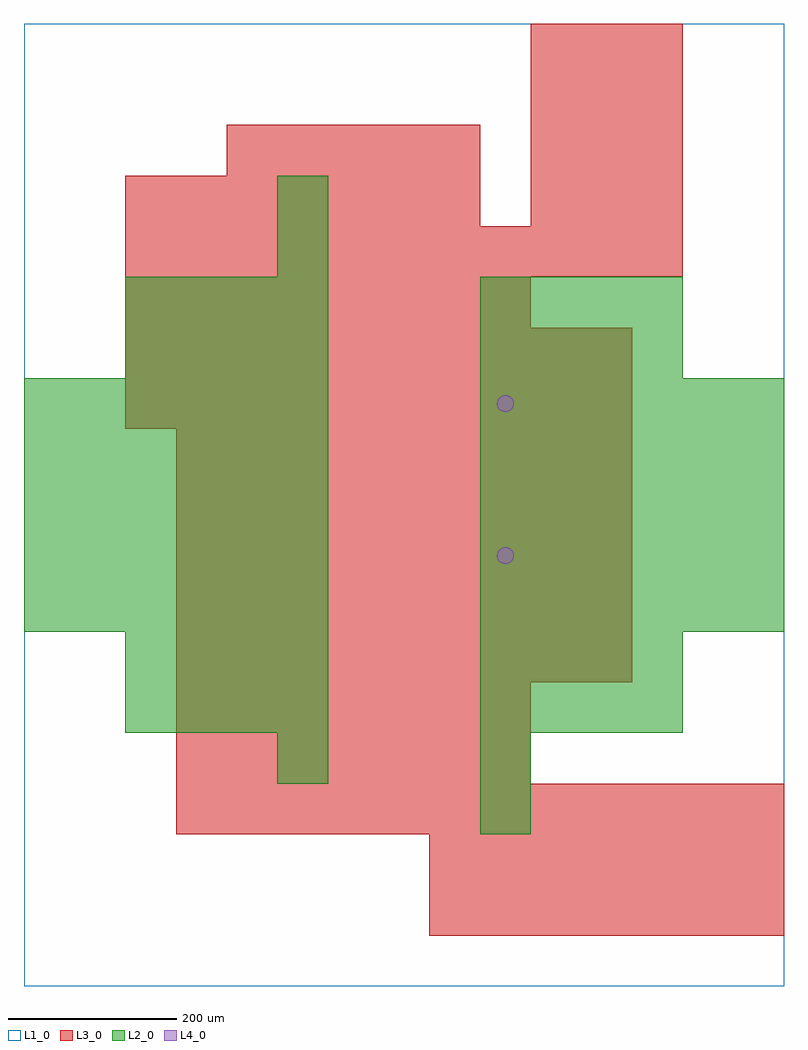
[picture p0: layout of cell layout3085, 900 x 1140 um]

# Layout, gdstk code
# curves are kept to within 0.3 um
import gdstk
lib = gdstk.Library(unit=1e-6, precision=1e-09)
def R(c, l, rs):  # rectangles x0, y0, x1, y1
    for r in rs: c.add(gdstk.rectangle(r[:2], r[2:], *l))
def A(c, l, x, y, w, h, nx, ny, dx, dy):  # array of equal rectangles
    R(c, l, [(x+i*dx, y+j*dy, x+i*dx+w, y+j*dy+h) for i in range(nx) for j in range(ny)])
def P(c, l, *ps):  # polygons
    for p in ps: c.add(gdstk.Polygon(p, *l))
L1_0 = (1, 0)
L2_0 = (2, 0)
L3_0 = (3, 0)
L4_0 = (4, 0)

layout3085 = lib.new_cell('layout3085')
R(layout3085, L1_0, [(0,0,900,1140)])
A(layout3085, L2_0, 120, 300, 60, 60, 4, 2, 60, 60)
A(layout3085, L2_0, 540, 300, 60, 60, 4, 2, 60, 60)
A(layout3085, L2_0, 0, 420, 60, 60, 6, 5, 60, 60)
A(layout3085, L2_0, 540, 420, 60, 60, 6, 5, 60, 60)
A(layout3085, L2_0, 120, 720, 60, 60, 4, 2, 60, 60)
A(layout3085, L2_0, 540, 720, 60, 60, 4, 2, 60, 60)
R(layout3085, L2_0, [(540,180,600,240), (300,240,360,300), (540,240,600,300), (300,840,360,900), (300,900,360,960)])
A(layout3085, L3_0, 480, 60, 60, 60, 7, 2, 60, 60)
A(layout3085, L3_0, 180, 180, 60, 60, 12, 1, 60, 0)
A(layout3085, L3_0, 180, 240, 60, 60, 7, 2, 60, 60)
A(layout3085, L3_0, 180, 360, 60, 60, 9, 5, 60, 60)
A(layout3085, L3_0, 120, 660, 60, 60, 10, 2, 60, 60)
A(layout3085, L3_0, 120, 780, 60, 60, 8, 1, 60, 0)
A(layout3085, L3_0, 120, 840, 60, 60, 11, 1, 60, 0)
A(layout3085, L3_0, 120, 900, 60, 60, 7, 1, 60, 0)
A(layout3085, L3_0, 600, 900, 60, 60, 3, 4, 60, 60)
A(layout3085, L3_0, 240, 960, 60, 60, 5, 1, 60, 0)
P(layout3085, L4_0, [(580,510),(579.239,513.827),(577.071,517.071),(573.827,519.239),(570,520),(566.173,519.239),(562.929,517.071),(560.761,513.827),(560,510),(560.761,506.173),(562.929,502.929),(566.173,500.761),(570,500),(573.827,500.761),(577.071,502.929),(579.239,506.173)],
  [(580,690),(579.239,693.827),(577.071,697.071),(573.827,699.239),(570,700),(566.173,699.239),(562.929,697.071),(560.761,693.827),(560,690),(560.761,686.173),(562.929,682.929),(566.173,680.761),(570,680),(573.827,680.761),(577.071,682.929),(579.239,686.173)])

lib.write_gds('layout3085.gds')
